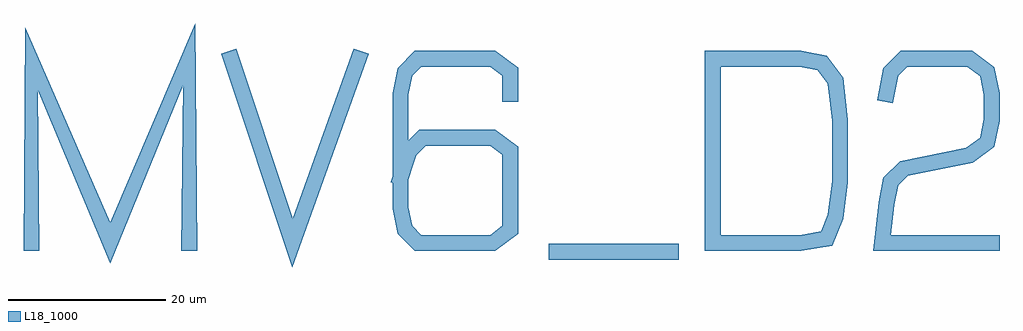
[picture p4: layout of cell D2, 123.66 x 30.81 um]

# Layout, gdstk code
import gdstk
lib = gdstk.Library(unit=1e-6, precision=1e-09)
L18_1000 = (18, 1000)

c_d2 = lib.new_cell('D2')
c_d2.add(gdstk.FlexPath([(-480.012,-306.995),(-480.012,-283.662),(-470.012,-306.995),(-460.012,-283.107),(-460.012,-306.995)], 2, ends="extended", simple_path=True, layer=18, datatype=1000))  # L18_1000
c_d2.add(gdstk.FlexPath([(-454.679,-283.662),(-446.902,-306.995),(-438.568,-283.662)], 2, ends="extended", simple_path=True, layer=18, datatype=1000))  # L18_1000
c_d2.add(gdstk.FlexPath([(-419.347,-288.107),(-419.347,-285.329),(-421.569,-283.662),(-431.013,-283.662),(-432.68,-285.329),(-433.235,-288.107),(-433.235,-302.551),(-432.68,-305.329),(-431.013,-306.995),(-421.569,-306.995),(-419.347,-305.329),(-419.347,-295.329),(-421.569,-293.662),(-430.458,-293.662),(-432.124,-295.329),(-433.235,-298.662)], 2, ends="extended", simple_path=True, layer=18, datatype=1000))  # L18_1000
c_d2.add(gdstk.FlexPath([(-413.458,-308.106),(-399.014,-308.106)], 2, ends="extended", simple_path=True, layer=18, datatype=1000))  # L18_1000
c_d2.add(gdstk.FlexPath([(-393.681,-306.995),(-393.681,-283.662),(-382.57,-283.662),(-379.793,-284.218),(-378.126,-286.44),(-377.57,-291.44),(-377.57,-299.218),(-378.126,-303.662),(-379.237,-306.44),(-382.57,-306.995),(-393.681,-306.995)], 2, ends="extended", simple_path=True, layer=18, datatype=1000))  # L18_1000
c_d2.add(gdstk.FlexPath([(-371.682,-288.107),(-371.126,-285.329),(-369.46,-283.662),(-361.126,-283.662),(-358.904,-285.329),(-358.349,-288.107),(-358.349,-291.44),(-358.904,-294.218),(-361.126,-295.884),(-369.46,-297.551),(-371.126,-299.218),(-371.682,-301.995),(-372.237,-306.995),(-358.349,-306.995)], 2, ends="extended", simple_path=True, layer=18, datatype=1000))  # L18_1000

lib.write_gds('D2.gds')
